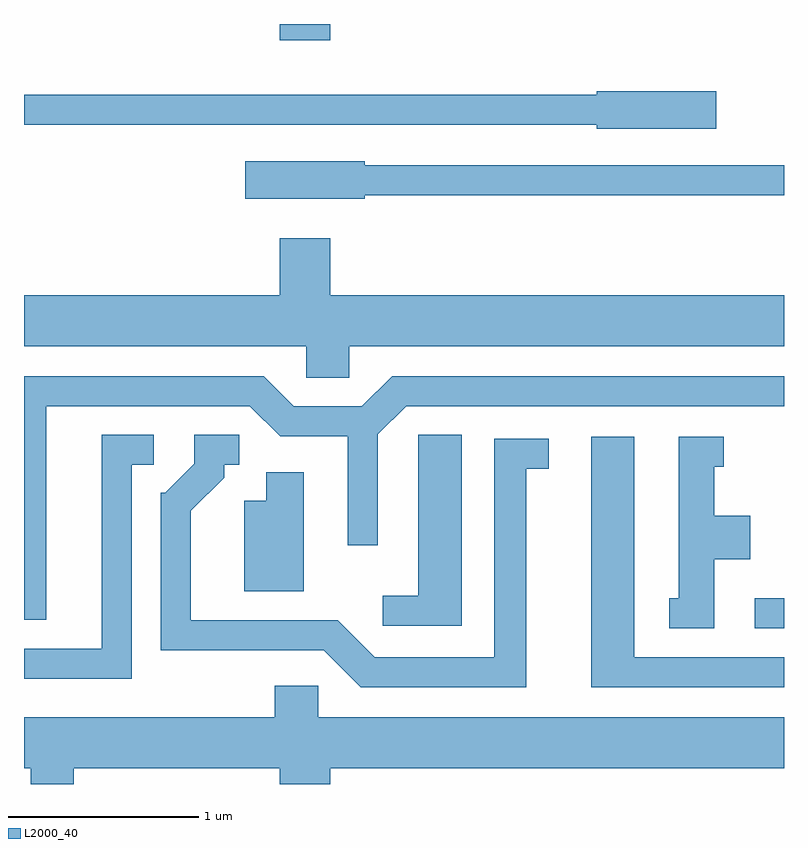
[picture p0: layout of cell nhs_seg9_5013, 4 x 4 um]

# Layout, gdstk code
import gdstk
lib = gdstk.Library(unit=1e-6, precision=1e-09)
def R(c, l, rs):  # rectangles x0, y0, x1, y1
    for r in rs: c.add(gdstk.rectangle(r[:2], r[2:], *l))
def P(c, l, *ps):  # polygons
    for p in ps: c.add(gdstk.Polygon(p, *l))
L2000_40 = (2000, 40)

nhs_seg9_5013 = lib.new_cell('nhs_seg9_5013')
R(nhs_seg9_5013, L2000_40, [(337.458,1959.251,337.611,1959.409), (334.956,1962.346,335.224,1962.432)])
P(nhs_seg9_5013, L2000_40, [(337.254,1962.079),(336.626,1962.079),(336.626,1962.059),(333.611,1962.059),(333.611,1961.901),(336.626,1961.901),(336.626,1961.881),(337.254,1961.881)],
  [(335.404,1961.531),(337.611,1961.531),(337.611,1961.689),(335.404,1961.689),(335.404,1961.709),(334.776,1961.709),(334.776,1961.511),(335.404,1961.511)],
  [(335.324,1960.736),(337.611,1960.736),(337.611,1961.004),(335.224,1961.004),(335.224,1961.304),(334.956,1961.304),(334.956,1961.004),(333.611,1961.004),(333.611,1960.736),(335.096,1960.736),(335.096,1960.571),(335.324,1960.571)],
  [(333.729,1960.421),(334.799,1960.421),(334.959,1960.261),(335.316,1960.261),(335.316,1959.688),(335.474,1959.688),(335.474,1960.274),(335.622,1960.421),(337.611,1960.421),(337.611,1960.579),(335.549,1960.579),(335.389,1960.419),(335.032,1960.419),(334.872,1960.579),(333.611,1960.579),(333.611,1959.296),(333.729,1959.296)],
  [(334.179,1960.111),(334.293,1960.111),(334.293,1960.269),(334.021,1960.269),(334.021,1959.144),(333.611,1959.144),(333.611,1958.986),(334.179,1958.986)],
  [(335.914,1960.269),(335.686,1960.269),(335.686,1959.424),(335.498,1959.424),(335.498,1959.266),(335.914,1959.266)],
  [(336.254,1960.091),(336.373,1960.091),(336.373,1960.249),(336.086,1960.249),(336.086,1959.099),(335.457,1959.099),(335.262,1959.294),(334.489,1959.294),(334.489,1959.869),(334.664,1960.044),(334.664,1960.111),(334.743,1960.111),(334.743,1960.269),(334.506,1960.269),(334.506,1960.117),(334.354,1959.964),(334.331,1959.964),(334.331,1959.136),(335.189,1959.136),(335.384,1958.941),(336.254,1958.941)],
  [(337.244,1959.616),(337.434,1959.616),(337.434,1959.844),(337.244,1959.844),(337.244,1960.101),(337.293,1960.101),(337.293,1960.259),(337.056,1960.259),(337.056,1959.409),(337.008,1959.409),(337.008,1959.251),(337.244,1959.251)],
  [(337.611,1959.099),(336.824,1959.099),(336.824,1960.259),(336.596,1960.259),(336.596,1958.941),(337.611,1958.941)],
  [(335.084,1960.074),(334.886,1960.074),(334.886,1959.924),(334.771,1959.924),(334.771,1959.446),(335.084,1959.446)],
  [(333.874,1958.516),(334.956,1958.516),(334.956,1958.432),(335.224,1958.432),(335.224,1958.516),(337.611,1958.516),(337.611,1958.784),(335.159,1958.784),(335.159,1958.949),(334.931,1958.949),(334.931,1958.784),(333.611,1958.784),(333.611,1958.516),(333.646,1958.516),(333.646,1958.432),(333.874,1958.432)])

lib.write_gds('nhs_seg9_5013.gds')
